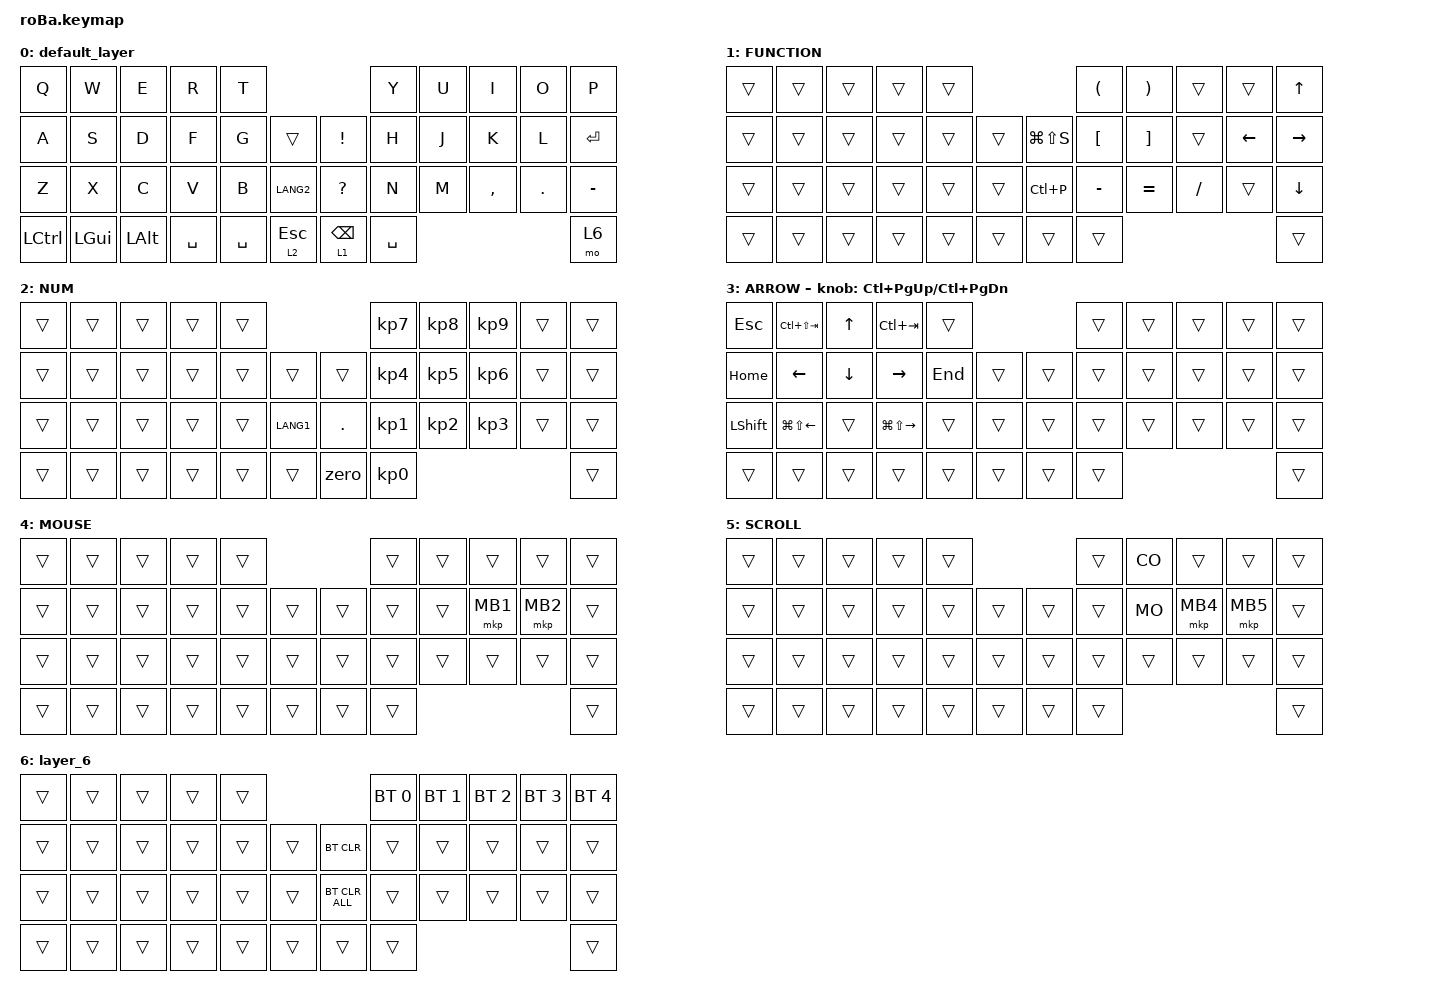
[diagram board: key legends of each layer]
#include <behaviors.dtsi>
#include <dt-bindings/zmk/bt.h>
#include <dt-bindings/zmk/keys.h>
#include <dt-bindings/zmk/pointing.h>

// #includeのあとのあたりにスクロール量変更の定義を追記

#define ZMK_POINTING_DEFAULT_SCRL_VAL 80

&mt {
    flavor = "balanced";
    quick-tap-ms = <0>;
};

&trackball {
    automouse-layer = <4>;
    scroll-layers = <5>;

    // arrows {
    //     layers = <3>;
    //     bindings =
    //         <&kp RIGHT_ARROW>,
    //         <&kp LEFT_ARROW>,
    //         <&kp UP_ARROW>,
    //         <&kp DOWN_ARROW>;
    //     tick = <10>;
    //     wait-ms = <5>;
    //     tap-ms = <5>;
    // };
};

/ {
    combos {
        compatible = "zmk,combos";

        tab {
            bindings = <&kp TAB>;
            key-positions = <11 10>;
        };

        L5 {
            bindings = <&mo 5>;
            key-positions = <9 8>;
        };

        midle {
            bindings = <&mkp MB3>;
            key-positions = <20 21>;
        };

        DE {
            bindings = <&kp DELETE>;
            key-positions = <41 19>;
        };
    };

    macros {
        MO: MOVE {
            compatible = "zmk,behavior-macro";
            #binding-cells = <0>;
            bindings = <&kp M &kp ENTER>;
            label = "MOVE";
        };

        CO: CO {
            compatible = "zmk,behavior-macro";
            #binding-cells = <0>;
            bindings = <&kp C &kp O &kp ENTER>;
            label = "CO";
        };

        zero: zero {
            compatible = "zmk,behavior-macro";
            #binding-cells = <0>;
            bindings = <&kp KP_NUMBER_0 &kp KP_NUMBER_0 &kp ENTER>;
            label = "ZERO";
        };
    };

    behaviors {
        encoder_msc_down_up: encoder_msc_down_up {
            compatible = "zmk,behavior-sensor-rotate";
            label = "ENCODER_MSC_DOWN_UP";
            #sensor-binding-cells = <0>;
            bindings = <&msc SCRL_DOWN>, <&msc SCRL_UP>;

            tap-ms = <20>;
        };
    };

    behaviors {
        lt_to_layer_0: lt_to_layer_0 {
            compatible = "zmk,behavior-hold-tap";
            label = "LAYER_TAP_TO_0";
            bindings = <&mo>, <&to_layer_0>;

            #binding-cells = <2>;
            tapping-term-ms = <200>;
        };
    };

    keymap {
        compatible = "zmk,keymap";

        default_layer {
            bindings = <
&kp Q      &kp W         &kp E         &kp R      &kp T                                         &kp Y      &kp U  &kp I      &kp O       &kp P
&kp A      &kp S         &kp D         &kp F      &kp G      &trans            &kp EXCLAMATION  &kp H      &kp J  &kp K      &kp L       &kp ENTER
&kp Z      &kp X         &kp C         &kp V      &kp B      &kp LANG2         &kp QUESTION     &kp N      &kp M  &kp COMMA  &kp PERIOD  &kp MINUS
&kp LCTRL  &kp LEFT_GUI  &kp LEFT_ALT  &kp SPACE  &kp SPACE  &lt 2 ESCAPE      &lt 1 BACKSPACE  &kp SPACE                                &mo 6
            >;
        };

        FUNCTION {
            bindings = <
&trans  &trans  &trans  &trans  &trans                             &kp LEFT_PARENTHESIS  &kp RIGHT_PARENTHESIS  &trans     &trans    &kp UP_ARROW
&trans  &trans  &trans  &trans  &trans  &trans      &kp LG(LS(S))  &kp LEFT_BRACKET      &kp RIGHT_BRACKET      &trans     &kp LEFT  &kp RIGHT
&trans  &trans  &trans  &trans  &trans  &trans      &kp LC(P)      &kp MINUS             &kp EQUAL              &kp SLASH  &trans    &kp DOWN
&trans  &trans  &trans  &trans  &trans  &trans      &trans         &trans                                                            &trans
            >;
        };

        NUM {
            bindings = <
&trans  &trans  &trans  &trans  &trans                             &kp KP_NUMBER_7  &kp KP_NUMBER_8  &kp KP_NUMBER_9  &trans  &trans
&trans  &trans  &trans  &trans  &trans  &trans         &trans      &kp KP_NUMBER_4  &kp KP_NUMBER_5  &kp KP_NUMBER_6  &trans  &trans
&trans  &trans  &trans  &trans  &trans  &kp LANG1      &kp PERIOD  &kp KP_NUMBER_1  &kp KP_NUMBER_2  &kp KP_NUMBER_3  &trans  &trans
&trans  &trans  &trans  &trans  &trans  &trans         &zero       &kp KP_NUMBER_0                                            &trans
            >;
        };

        ARROW {
            bindings = <
&kp ESCAPE      &kp LC(LS(TAB))         &kp UP_ARROW    &kp LC(TAB)              &trans                       &trans  &trans  &trans  &trans  &trans
&kp HOME        &kp LEFT_ARROW          &kp DOWN_ARROW  &kp RIGHT_ARROW          &kp END  &trans      &trans  &trans  &trans  &trans  &trans  &trans
&kp LEFT_SHIFT  &kp LG(LS(LEFT_ARROW))  &trans          &kp LG(LS(RIGHT_ARROW))  &trans   &trans      &trans  &trans  &trans  &trans  &trans  &trans
&trans          &trans                  &trans          &trans                   &trans   &trans      &trans  &trans                          &trans
            >;

            sensor-bindings = <&inc_dec_kp LC(PAGE_UP) LC(PAGE_DOWN)>;
        };

        MOUSE {
            bindings = <
&trans  &trans  &trans  &trans  &trans                      &trans  &trans  &trans    &trans    &trans
&trans  &trans  &trans  &trans  &trans  &trans      &trans  &trans  &trans  &mkp MB1  &mkp MB2  &trans
&trans  &trans  &trans  &trans  &trans  &trans      &trans  &trans  &trans  &trans    &trans    &trans
&trans  &trans  &trans  &trans  &trans  &trans      &trans  &trans                              &trans
            >;
        };

        SCROLL {
            bindings = <
&trans  &trans  &trans  &trans  &trans                      &trans  &CO     &trans    &trans    &trans
&trans  &trans  &trans  &trans  &trans  &trans      &trans  &trans  &MO     &mkp MB4  &mkp MB5  &trans
&trans  &trans  &trans  &trans  &trans  &trans      &trans  &trans  &trans  &trans    &trans    &trans
&trans  &trans  &trans  &trans  &trans  &trans      &trans  &trans                              &trans
            >;
        };

        layer_6 {
            bindings = <
&trans  &trans  &trans  &trans  &trans                              &bt BT_SEL 0  &bt BT_SEL 1  &bt BT_SEL 2  &bt BT_SEL 3  &bt BT_SEL 4
&trans  &trans  &trans  &trans  &trans  &trans      &bt BT_CLR      &trans        &trans        &trans        &trans        &trans
&trans  &trans  &trans  &trans  &trans  &trans      &bt BT_CLR_ALL  &trans        &trans        &trans        &trans        &trans
&trans  &trans  &trans  &trans  &trans  &trans      &trans          &trans                                                  &trans
            >;
        };
    };
};
